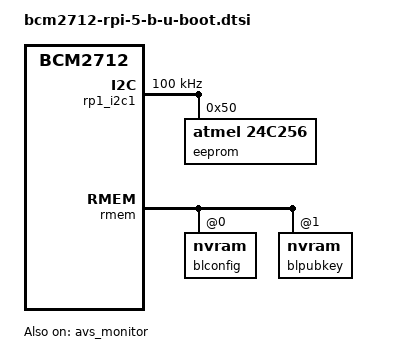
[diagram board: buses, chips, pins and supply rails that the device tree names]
#include <config.h>
#include <smbios_def.h>

&pcie1 {
	dma-ranges = <0x43000000 0x10 0x00000000  0x0 0x00000000  0x10 0x00000000>;
};

/*
 * RP1 Southbridge — PCIe2 overrides
 *
 * On the Linux 7.x DTB the RP1 south bridge sits behind pcie2 as a PCI
 * endpoint: pcie2 → pci@0,0 (virtual PCI-PCI bridge) → dev@0,0 (the RP1
 * endpoint, which #includes rp1-common.dtsi).  Inside dev@0,0 a simple-bus
 * (pci_ep_bus) hosts the RP1 peripheral devices: Ethernet (rp1_eth), USB
 * (rp1_usb0/1), clocks, and GPIO.  (The 6.x "rp1_nexus" label is gone.)
 *
 * DMA path: RP1 peripheral → pci_ep_bus dma-ranges (bus 0x10_0000_0000
 * → PCIe 0x10_0000_0000) → dev@0,0 / pci@0,0 (passthrough, no dma-ranges)
 * → pcie2 dma-ranges (PCIe 0x10_0000_0000 → CPU 0x0).  We must NOT add
 * dma-ranges to dev@0,0 — upstream omits them so addresses pass through
 * unchanged.
 *
 * bootph-all on pci@0,0 and dev@0,0 pulls the full PCIe → PCI bridge → RP1
 * chain into U-Boot's pre-relocation scan so the rp1 MFD driver can
 * discover pci_ep_bus (marked bootph-all below) and its children.
 */
&pcie2 {
	dma-ranges = <0x43000000 0x10 0x00000000  0x0 0x00000000  0x10 0x00000000>;

	pci@0,0 {
		bootph-all;

		dev@0,0 {
			bootph-all;
		};
	};
};

/*
 * RP1 simple-bus and peripheral boot phase markers.
 *
 * pci_ep_bus (simple-bus in rp1-common.dtsi) must be marked bootph-all so
 * U-Boot scans its children (rp1_eth, rp1_usb0/1, rp1_clocks, rp1_gpio).
 * rp1_clocks must be available before rp1_eth probes (macb driver requests
 * RP1_CLK_ETH / RP1_CLK_ETH_TSU via the clock framework).
 *
 * status = "okay" is already set for all three peripherals in the upstream
 * bcm2712-rpi-5-b.dts; only the bootph annotation is added here.
 */
&pci_ep_bus {
	bootph-all;

	rp1_i2c1: i2c@40074000 {
		compatible = "snps,designware-i2c";
		reg = <0x00 0x40074000  0x0 0x1000>;
		#address-cells = <1>;
		#size-cells = <0>;
		clocks = <&rp1_clocks RP1_CLK_SYS>;
		clock-frequency = <100000>;
		pinctrl-names = "default";
		pinctrl-0 = <&rp1_i2c1_pins>;
		bootph-all;
		status = "okay";

		/*
		 * One 24c256 shared by two consumers at different offsets:
		 *   0x0000..0x3fff  UEFI variable store (blob at offset 0, capped
		 *                    at CONFIG_ENV_OFFSET by efi_var_i2c.c)
		 *   0x4000..0x7fff  U-Boot env (CONFIG_ENV_IS_IN_EEPROM,
		 *                    SYS_I2C_EEPROM_ADDR=0x50, ENV_OFFSET=0x4000)
		 * Real part or a BMC-emulated slave.  Env reaches it via the raw
		 * i2c path but resolves to this same device (i2c_get_chip on 0x50),
		 * so both use the driver-set 2-byte addressing.
		 */
		eeprom@50 {
			compatible = "atmel,24c256";
			reg = <0x50>;
			pagesize = <64>;
		};
	};
};

&rp1_clocks {
	bootph-all;
};

&rp1_eth {
	bootph-all;
};

&rp1_usb0 {
	bootph-all;
};

&rp1_usb1 {
	bootph-all;
};

&rp1_gpio {
	rp1_i2c1_pins: i2c1-pins {
		pins = <2 3>;
		function = <3>;
		bias-pull-up;
	};
};


/*
 * Bootloader config (blconfig) NVMEM node.
 *
 * The VPU firmware copies the board's bootloader configuration block into
 * DRAM and patches this node's reg property with the placement at runtime.
 * U-Boot's rpi board code reads it via the nvmem API to detect things like
 * POWER_OFF_ON_HALT for the power-button service. The "raspberrypi,bootloader-
 * config" / "nvmem-rmem" compatible matches the same handling used on RPi 4
 * (see bcm2711-rpi.dtsi).
 *
 * status starts as "disabled" and is flipped to "okay" by the firmware after
 * it writes the real reg values; an alias makes it discoverable by label.
 */
&rmem {
	blconfig: nvram@0 {
		bootph-all;
	};
	blpubkey: nvram@1 {
		bootph-all;
	};
};

/*
 * CPU temperature sensor.
 *
 * The upstream bcm2712.dtsi omits the AVS monitor and thermal-zones nodes, so
 * re-add the avs-monitor syscon and its brcm,bcm2711-thermal sensor, matching
 * the values the Raspberry Pi firmware DTB provides.  This mirrors the kernel
 * overlay that restores thermal monitoring on the stripped mainline DT.
 *
 * U-Boot has no thermal-zone infrastructure: the calibration that Linux keeps
 * in the cpu-thermal zone (coefficients = <slope offset>) lives directly on
 * the sensor node here, where the bcm2711_thermal driver reads it.
 *   BCM2712 calibration: temp(mC) = -550 * raw + 450000
 */
&soc {
	avs_monitor: avs-monitor@7d542000 {
		compatible = "brcm,bcm2711-avs-monitor",
			     "syscon", "simple-mfd";
		reg = <0x7d542000 0xf00>;
		status = "okay";

		thermal: thermal {
			compatible = "brcm,bcm2711-thermal";
			coefficients = <(-550) 450000>;
			#thermal-sensor-cells = <0>;
		};
	};
};

/ {
	aliases {
		ethernet0 = &rp1_eth;
		blconfig = &blconfig;
		/*
		 * Env addresses the EEPROM on U-Boot i2c bus 0 (the eeprom_init()
		 * default), so pin rp1_i2c1 to DM seq 0.  The DM bus number is
		 * independent of the RP1 hardware instance ("i2c1") and the Linux
		 * device name (/dev/i2c-1).
		 */
		i2c0 = &rp1_i2c1;
	};

	smbios {
		compatible = "u-boot,sysinfo-smbios";

		smbios {
			system {
				manufacturer = "Raspberry Pi";
				product = "5 Model B";
				version = "";
				serial = "";
				sku = "";
				family = "Raspberry Pi";
			};

			baseboard {
				manufacturer = "Raspberry Pi";
				product = CONFIG_SYS_BOARD;
				version = "";
				serial = "";
				asset-tag = "";
				chassis-location = "";
				feature-flags = <SMBIOS_BOARD_FEAT_HOST_BOARD>;
				board-type = <SMBIOS_BOARD_TYPE_MOTHERBOARD>;
			};

			chassis {
				manufacturer = "Raspberry Pi";
				version = "";
				serial = "";
				asset-tag = "";
				chassis-type = <SMBIOS_ENCLOSURE_DESKTOP>;
				bootup-state = <SMBIOS_STATE_SAFE>;
				power-supply-state = <SMBIOS_STATE_SAFE>;
				thermal-state = <SMBIOS_STATE_SAFE>;
				security-status = <SMBIOS_SECURITY_NONE>;
				oem-defined = <SMBIOS_ENCLOSURE_OEM_UND>;
				height = <SMBIOS_ENCLOSURE_HEIGHT_UND>;
				number-of-power-cords = <SMBIOS_POWCORD_NUM_UND>;
			};

			processor {
				version = "";
				processor-type = <SMBIOS_PROCESSOR_TYPE_CENTRAL>;
				processor-status = <SMBIOS_PROCESSOR_STATUS_ENABLED>;
				upgrade = <SMBIOS_PROCESSOR_UPGRADE_NONE>;
				family = <SMBIOS_PROCESSOR_FAMILY_EXT>;
				family2 = <SMBIOS_PROCESSOR_FAMILY_ARMV8>;
				socket-design = "";
				serial = "";
				asset-tag = "";
				part-number = "";
			};

			cache {
				l1-cache {
					socket-design = "";
					config = <(SMBIOS_CACHE_LEVEL_1 |
							SMBIOS_CACHE_ENABLED |
							SMBIOS_CACHE_OP_WB)>;
				};

				l2-cache {
					socket-design = "";
					config = <(SMBIOS_CACHE_LEVEL_2 |
							SMBIOS_CACHE_ENABLED |
							SMBIOS_CACHE_OP_WB)>;
				};
			};

			/*
			 * No static system-slot / memory-array / memory-device /
			 * memory-array-mapped-address nodes.
			 *
			 * SMBIOS Type 16/17/19 are generated dynamically by
			 * lib/smbios.c from the firmware DTB's /memory node(s) -
			 * the only source of the real, per-SKU installed size.
			 * A memory-array node with child entries instead forces
			 * the CUSTOM path, which reports 0 capacity unless every
			 * field is hardcoded (and can't express a fleet's varying
			 * RAM sizes anyway).
			 *
			 * The Pi has no expansion slots, so no system-slot node.
			 */
		};
	};
};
